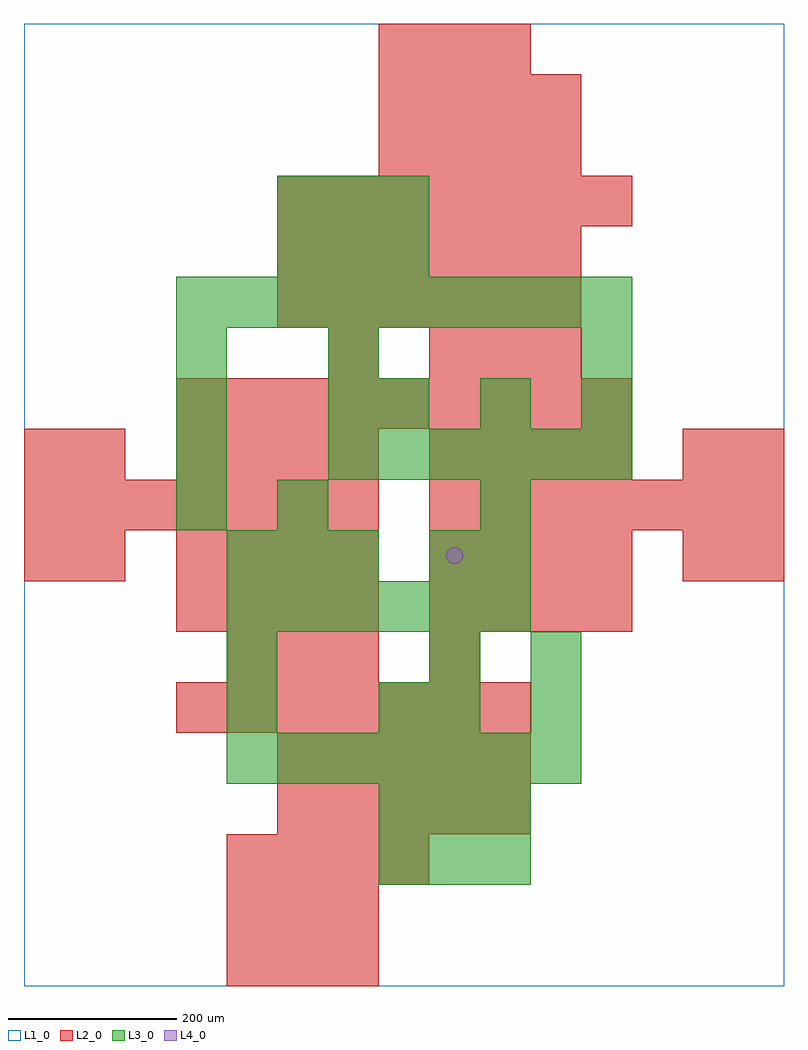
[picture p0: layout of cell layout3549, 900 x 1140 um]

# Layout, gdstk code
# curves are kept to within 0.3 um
import gdstk
lib = gdstk.Library(unit=1e-6, precision=1e-09)
def R(c, l, rs):  # rectangles x0, y0, x1, y1
    for r in rs: c.add(gdstk.rectangle(r[:2], r[2:], *l))
def A(c, l, x, y, w, h, nx, ny, dx, dy):  # array of equal rectangles
    R(c, l, [(x+i*dx, y+j*dy, x+i*dx+w, y+j*dy+h) for i in range(nx) for j in range(ny)])
def P(c, l, *ps):  # polygons
    for p in ps: c.add(gdstk.Polygon(p, *l))
L1_0 = (1, 0)
L2_0 = (2, 0)
L3_0 = (3, 0)
L4_0 = (4, 0)

layout3549 = lib.new_cell('layout3549')
R(layout3549, L1_0, [(0,0,900,1140)])
A(layout3549, L2_0, 240, 0, 60, 60, 3, 2, 60, 60)
A(layout3549, L2_0, 240, 120, 60, 60, 4, 1, 60, 0)
A(layout3549, L2_0, 300, 180, 60, 60, 5, 2, 60, 60)
A(layout3549, L2_0, 180, 300, 60, 60, 7, 1, 60, 0)
A(layout3549, L2_0, 240, 360, 60, 60, 3, 1, 60, 0)
A(layout3549, L2_0, 180, 420, 60, 60, 4, 2, 60, 60)
A(layout3549, L2_0, 480, 420, 60, 60, 4, 2, 60, 60)
A(layout3549, L2_0, 0, 540, 60, 60, 7, 1, 60, 0)
A(layout3549, L2_0, 480, 540, 60, 60, 7, 1, 60, 0)
A(layout3549, L2_0, 180, 600, 60, 60, 4, 1, 60, 0)
A(layout3549, L2_0, 480, 600, 60, 60, 4, 1, 60, 0)
A(layout3549, L2_0, 180, 660, 60, 60, 9, 1, 60, 0)
A(layout3549, L2_0, 480, 720, 60, 60, 3, 1, 60, 0)
A(layout3549, L2_0, 300, 780, 60, 60, 6, 2, 60, 60)
A(layout3549, L2_0, 300, 900, 60, 60, 7, 1, 60, 0)
A(layout3549, L2_0, 420, 960, 60, 60, 4, 2, 60, 60)
A(layout3549, L2_0, 420, 1080, 60, 60, 3, 1, 60, 0)
R(layout3549, L2_0, [(480,360,540,420), (0,480,60,540), (60,480,120,540), (780,480,840,540), (840,480,900,540), (0,600,60,660), (60,600,120,660), (780,600,840,660), (840,600,900,660), (360,720,420,780)])
A(layout3549, L3_0, 420, 120, 60, 60, 3, 2, 60, 60)
A(layout3549, L3_0, 240, 240, 60, 60, 7, 1, 60, 0)
A(layout3549, L3_0, 240, 420, 60, 60, 6, 1, 60, 0)
A(layout3549, L3_0, 240, 480, 60, 60, 3, 1, 60, 0)
A(layout3549, L3_0, 180, 540, 60, 60, 1, 4, 0, 60)
A(layout3549, L3_0, 360, 600, 60, 60, 6, 1, 60, 0)
A(layout3549, L3_0, 420, 660, 60, 60, 3, 1, 120, 0)
A(layout3549, L3_0, 180, 780, 60, 60, 9, 1, 60, 0)
A(layout3549, L3_0, 300, 840, 60, 60, 3, 2, 60, 60)
R(layout3549, L3_0, [(240,300,300,360), (420,300,480,360), (480,300,540,360), (600,300,660,360), (240,360,300,420), (480,360,540,420), (600,360,660,420), (480,480,540,540), (540,480,600,540), (300,540,360,600), (540,540,600,600), (360,660,420,720), (360,720,420,780), (660,720,720,780)])
P(layout3549, L4_0, [(520,510),(519.239,513.827),(517.071,517.071),(513.827,519.239),(510,520),(506.173,519.239),(502.929,517.071),(500.761,513.827),(500,510),(500.761,506.173),(502.929,502.929),(506.173,500.761),(510,500),(513.827,500.761),(517.071,502.929),(519.239,506.173)])

lib.write_gds('layout3549.gds')
